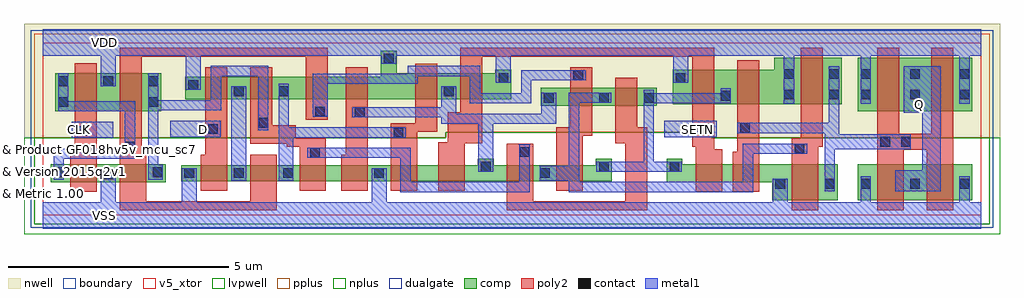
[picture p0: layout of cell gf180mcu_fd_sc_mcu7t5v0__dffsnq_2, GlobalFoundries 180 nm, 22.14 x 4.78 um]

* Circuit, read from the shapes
.subckt gf180mcu_fd_sc_mcu7t5v0__dffsnq_2 CLK D Q SETN VDD VSS
XM1 VSS CLK n1 VSUBS nfet_05v0 w=0.405u l=0.6u
XM2 n2 n1 VSS VSUBS nfet_05v0 w=0.405u l=0.6u
XM3 n3 D VSS VSUBS nfet_05v0 w=0.36u l=0.6u
XM4 n4 n1 n3 VSUBS nfet_05v0 w=0.36u l=0.6u
XM5 n5 n2 n4 VSUBS nfet_05v0 w=0.36u l=0.6u
XM6 VSS n6 n5 VSUBS nfet_05v0 w=0.36u l=0.6u
XM7 n7 n4 VSS VSUBS nfet_05v0 w=0.36u l=0.6u
XM8 n6 SETN n7 VSUBS nfet_05v0 w=0.36u l=0.6u
XM9 n8 n2 n6 VSUBS nfet_05v0 w=0.36u l=0.6u
XM10 n9 n1 n8 VSUBS nfet_05v0 w=0.36u l=0.6u
XM11 n10 SETN n9 VSUBS nfet_05v0 w=0.405u l=0.6u
XM12 VSS n11 n10 VSUBS nfet_05v0 w=0.405u l=0.6u
XM13 n11 n8 VSS VSUBS nfet_05v0 w=0.815u l=0.6u
XM14 Q n11 VSS VSUBS nfet_05v0 w=0.815u l=0.6u m=2
XM15 VDD CLK n1 n12 pfet_05v0 w=0.865u l=0.5u
XM16 n2 n1 VDD n12 pfet_05v0 w=0.865u l=0.5u
XM17 n3 D VDD n12 pfet_05v0 w=0.505u l=0.5u
XM18 n4 n2 n3 n12 pfet_05v0 w=0.505u l=0.5u
XM19 n13 n1 n4 n12 pfet_05v0 w=0.505u l=0.5u
XM20 VDD n6 n13 n12 pfet_05v0 w=0.505u l=0.5u
XM21 n6 n4 VDD n12 pfet_05v0 w=0.585u l=0.5u
XM22 VDD SETN n6 n12 pfet_05v0 w=0.585u l=0.5u
XM23 n8 n1 n6 n12 pfet_05v0 w=0.415u l=0.5u
XM24 n9 n2 n8 n12 pfet_05v0 w=0.415u l=0.5u
XM25 n9 SETN VDD n12 pfet_05v0 w=0.78u l=0.5u
XM26 VDD n11 n9 n12 pfet_05v0 w=0.78u l=0.5u
XM27 n11 n8 VDD n12 pfet_05v0 w=1.055u l=0.5u
XM28 Q n11 VDD n12 pfet_05v0 w=1.215u l=0.5u m=2
.ends

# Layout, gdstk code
import gdstk
lib = gdstk.Library(unit=1e-6, precision=1e-09)
def R(c, l, rs):  # rectangles x0, y0, x1, y1
    for r in rs: c.add(gdstk.rectangle(r[:2], r[2:], *l))
def A(c, l, x, y, w, h, nx, ny, dx, dy):  # array of equal rectangles
    R(c, l, [(x+i*dx, y+j*dy, x+i*dx+w, y+j*dy+h) for i in range(nx) for j in range(ny)])
def P(c, l, *ps):  # polygons
    for p in ps: c.add(gdstk.Polygon(p, *l))
boundary = (0, 0)
nwell = (21, 0)
comp = (22, 0)
poly2 = (30, 0)
pplus = (31, 0)
nplus = (32, 0)
contact = (33, 0)
metal1 = (34, 0)
dualgate = (55, 0)
v5_xtor = (112, 1)
lvpwell = (204, 0)

gf180mcu_fd_sc_mcu7t5v0_ = lib.new_cell('gf180mcu_fd_sc_mcu7t5v0__dffsnq_2')
R(gf180mcu_fd_sc_mcu7t5v0_, boundary, [(0,0,21.28,3.92)])
P(gf180mcu_fd_sc_mcu7t5v0_, nwell, [(-0.43,1.76),(-0.43,4.35),(21.71,4.35),(21.71,1.76),(15.165,1.76),(15.165,1.885),(9.135,1.885),(9.135,1.76)])
R(gf180mcu_fd_sc_mcu7t5v0_, comp, [(18.485,0.345,21.085,1.16), (0.18,0.755,2.78,1.16), (0.28,2.36,2.68,3.225), (18.485,2.36,21.085,3.575), (11.295,2.485,13.925,2.9)])
P(gf180mcu_fd_sc_mcu7t5v0_, comp, [(3.23,2.635),(3.23,3.14),(7.665,3.14),(7.665,3.74),(8.025,3.74),(8.025,3.22),(10.265,3.22),(10.265,3.3),(10.625,3.3),(10.625,2.635)],
  [(3.14,0.78),(3.14,1.14),(9.865,1.14),(9.865,1.285),(10.225,1.285),(10.225,1.14),(12.545,1.14),(12.545,1.285),(12.905,1.285),(12.905,0.78)],
  [(16.545,0.345),(16.545,0.755),(14.145,0.755),(14.145,1.285),(14.505,1.285),(14.505,1.16),(18.025,1.16),(18.025,0.345)],
  [(14.285,2.52),(14.285,3.3),(16.585,3.3),(16.585,3.575),(18.125,3.575),(18.125,2.52)])
P(gf180mcu_fd_sc_mcu7t5v0_, poly2, [(0.62,0.535),(0.62,1.38),(0.72,1.38),(0.72,3.45),(1.22,3.45),(1.22,0.535)],
  [(3.58,0.56),(3.58,1.38),(3.68,1.38),(3.68,3.36),(4.18,3.36),(4.18,0.56)],
  [(5.82,0.56),(5.82,1.555),(5.535,1.555),(5.535,1.62),(4.7,1.62),(4.7,3.36),(5.2,3.36),(5.2,2.05),(5.735,2.05),(5.735,1.755),(6.42,1.755),(6.42,0.56)],
  [(1.74,0.12),(1.74,3.8),(6.465,3.8),(6.465,2.175),(5.965,2.175),(5.965,3.6),(2.24,3.6),(2.24,1.38),(2.34,1.38),(2.34,0.32),(4.7,0.32),(4.7,1.38),(5.3,1.38),(5.3,0.12)],
  [(6.765,0.56),(6.765,1.38),(6.865,1.38),(6.865,3.36),(7.365,3.36),(7.365,0.56)],
  [(7.885,0.56),(7.885,2.095),(8.445,2.095),(8.445,3.44),(8.945,3.44),(8.945,1.895),(8.485,1.895),(8.485,0.56)],
  [(11.645,0.56),(11.645,2.005),(11.965,2.005),(11.965,3.36),(12.465,3.36),(12.465,1.805),(12.245,1.805),(12.245,0.56)],
  [(10.525,0.12),(10.525,1.62),(11.125,1.62),(11.125,0.32),(13.205,0.32),(13.205,1.635),(12.985,1.635),(12.985,3.12),(13.485,3.12),(13.485,2.005),(13.705,2.005),(13.705,0.12)],
  [(14.805,0.535),(14.805,1.555),(14.725,1.555),(14.725,3.6),(9.965,3.6),(9.965,1.635),(9.565,1.635),(9.565,0.56),(8.965,0.56),(8.965,1.655),(9.185,1.655),(9.185,2.335),(9.465,2.335),(9.465,3.8),(15.225,3.8),(15.225,1.505),(15.405,1.505),(15.405,0.535)],
  [(15.645,0.535),(15.645,1.44),(15.745,1.44),(15.745,3.52),(16.245,3.52),(16.245,0.535)],
  [(16.985,0.12),(16.985,1.755),(17.185,1.755),(17.185,3.8),(17.685,3.8),(17.685,1.555),(17.585,1.555),(17.585,0.12)],
  [(18.925,0.12),(18.925,3.8),(19.425,3.8),(19.425,1.85),(20.145,1.85),(20.145,3.8),(20.645,3.8),(20.645,0.12),(20.045,0.12),(20.045,1.49),(19.525,1.49),(19.525,0.12)])
P(gf180mcu_fd_sc_mcu7t5v0_, pplus, [(-0.2,1.76),(-0.2,4.12),(21.48,4.12),(21.48,1.76),(15.165,1.76),(15.165,1.885),(9.135,1.885),(9.135,1.76)])
P(gf180mcu_fd_sc_mcu7t5v0_, nplus, [(-0.2,-0.2),(-0.2,1.76),(9.135,1.76),(9.135,1.885),(15.165,1.885),(15.165,1.76),(21.48,1.76),(21.48,-0.2)])
A(gf180mcu_fd_sc_mcu7t5v0_, contact, 18.555, 0.61, 0.22, 0.22, 3, 2, 1.12, 2.02)
A(gf180mcu_fd_sc_mcu7t5v0_, contact, 3.21, 0.85, 0.22, 0.22, 3, 1, 1.12, 0)
A(gf180mcu_fd_sc_mcu7t5v0_, contact, 0.35, 2.935, 0.22, 0.22, 3, 1, 1.02, 0)
A(gf180mcu_fd_sc_mcu7t5v0_, contact, 18.555, 3.1, 0.22, 0.22, 3, 1, 1.12, 0)
R(gf180mcu_fd_sc_mcu7t5v0_, contact, [(16.615,0.61,16.835,0.83), (17.735,0.61,17.955,0.83), (1.37,0.825,1.59,1.045), (7.515,0.85,7.735,1.07), (11.275,0.85,11.495,1.07), (0.25,0.87,0.47,1.09), (2.49,0.87,2.71,1.09), (9.935,0.995,10.155,1.215), (12.615,0.995,12.835,1.215), (14.215,0.995,14.435,1.215), (6.06,1.31,6.28,1.53), (10.815,1.33,11.035,1.55), (17.055,1.405,17.275,1.625), (1.865,1.455,2.085,1.675), (18.995,1.56,19.215,1.78), (19.465,1.56,19.685,1.78), (7.955,1.77,8.175,1.99), (0.79,1.805,1.01,2.025), (3.75,1.85,3.97,2.07), (14.795,1.85,15.015,2.07), (15.815,1.87,16.035,2.09), (4.89,1.99,5.11,2.21), (7.075,2.23,7.295,2.45), (6.175,2.245,6.395,2.465), (0.35,2.465,0.57,2.685), (2.39,2.465,2.61,2.685), (11.365,2.555,11.585,2.775), (12.615,2.555,12.835,2.775), (13.635,2.555,13.855,2.775), (15.375,2.605,15.595,2.825), (16.815,2.63,17.035,2.85), (17.835,2.63,18.055,2.85), (4.33,2.705,4.55,2.925), (5.35,2.705,5.57,2.925), (9.095,2.705,9.315,2.925), (3.3,2.85,3.52,3.07), (10.335,3.01,10.555,3.23), (14.355,3.01,14.575,3.23), (12.035,3.07,12.255,3.29), (16.815,3.1,17.035,3.32), (17.835,3.1,18.055,3.32), (7.735,3.45,7.955,3.67)])
R(gf180mcu_fd_sc_mcu7t5v0_, metal1, [(4.27,0.79,4.61,2.93), (0.65,1.765,1.59,2.13), (2.89,1.77,4.03,2.15), (14.09,1.77,15.285,2.15)])
P(gf180mcu_fd_sc_mcu7t5v0_, metal1, [(0.245,0.81),(0.245,1.51),(1.86,1.51),(1.86,2.36),(0.345,2.36),(0.345,3.225),(0.575,3.225),(0.575,2.595),(2.09,2.595),(2.09,1.28),(0.475,1.28),(0.475,0.81)],
  [(2.385,0.81),(2.385,3.225),(2.615,3.225),(2.615,2.615),(3.81,2.615),(3.81,3.39),(5.115,3.39),(5.115,1.93),(4.885,1.93),(4.885,3.16),(4.04,3.16),(4.04,2.38),(2.62,2.38),(2.62,1.15),(2.715,1.15),(2.715,0.81)],
  [(5.345,0.79),(5.345,2.985),(5.575,2.985),(5.575,1.995),(8.235,1.995),(8.235,1.765),(5.675,1.765),(5.675,0.79)],
  [(8.11,0.53),(8.11,1.305),(6,1.305),(6,1.535),(8.34,1.535),(8.34,0.76),(10.81,0.76),(10.81,1.615),(11.04,1.615),(11.04,0.53)],
  [(9.875,0.99),(9.875,2.08),(9.035,2.08),(9.035,2.225),(7.015,2.225),(7.015,2.455),(9.035,2.455),(9.035,2.93),(9.375,2.93),(9.375,2.31),(11.305,2.31),(11.305,2.78),(11.645,2.78),(11.645,2.08),(10.215,2.08),(10.215,0.99)],
  [(6.115,2.24),(6.115,3.215),(8.27,3.215),(8.27,3.39),(9.915,3.39),(9.915,2.775),(10.845,2.775),(10.845,3.295),(12.315,3.295),(12.315,3.065),(11.075,3.065),(11.075,2.54),(9.685,2.54),(9.685,3.16),(8.5,3.16),(8.5,2.985),(6.455,2.985),(6.455,2.24)],
  [(12.555,0.99),(12.555,1.22),(13.63,1.22),(13.63,2.845),(13.86,2.845),(13.86,2.775),(15.37,2.775),(15.37,2.885),(15.6,2.885),(15.6,2.54),(13.86,2.54),(13.86,1.22),(14.495,1.22),(14.495,0.99)],
  [(11.93,0.53),(11.93,0.79),(11.27,0.79),(11.27,1.13),(11.93,1.13),(11.93,2.78),(12.895,2.78),(12.895,2.55),(12.16,2.55),(12.16,0.76),(15.88,0.76),(15.88,1.63),(17.335,1.63),(17.335,1.395),(16.11,1.395),(16.11,0.53)],
  [(17.73,0.55),(17.73,1.86),(15.755,1.86),(15.755,2.105),(17.83,2.105),(17.83,3.38),(18.06,3.38),(18.06,1.84),(19.69,1.84),(19.69,1.5),(17.96,1.5),(17.96,0.55)],
  [(19.33,0.55),(19.33,1.02),(19.95,1.02),(19.95,2.33),(19.53,2.33),(19.53,3.38),(20.37,3.38),(20.37,0.55)],
  [(0,-0.3),(0,0.3),(1.31,0.3),(1.31,1.05),(1.65,1.05),(1.65,0.3),(3.15,0.3),(3.15,1.075),(3.49,1.075),(3.49,0.3),(7.455,0.3),(7.455,1.075),(7.795,1.075),(7.795,0.3),(16.555,0.3),(16.555,0.835),(16.895,0.835),(16.895,0.3),(18.55,0.3),(18.55,0.89),(18.78,0.89),(18.78,0.3),(20.79,0.3),(20.79,0.89),(21.02,0.89),(21.02,0.3),(21.28,0.3),(21.28,-0.3)],
  [(16.81,2.53),(16.81,3.62),(14.635,3.62),(14.635,3.005),(14.295,3.005),(14.295,3.62),(10.615,3.62),(10.615,3.005),(10.275,3.005),(10.275,3.62),(8.015,3.62),(8.015,3.445),(7.675,3.445),(7.675,3.62),(3.58,3.62),(3.58,2.845),(3.24,2.845),(3.24,3.62),(1.65,3.62),(1.65,2.93),(1.31,2.93),(1.31,3.62),(0,3.62),(0,4.22),(21.28,4.22),(21.28,3.62),(21.02,3.62),(21.02,2.53),(20.79,2.53),(20.79,3.62),(18.78,3.62),(18.78,2.53),(18.55,2.53),(18.55,3.62),(17.04,3.62),(17.04,2.53)])
R(gf180mcu_fd_sc_mcu7t5v0_, dualgate, [(-0.28,-0.28,21.56,4.2)])
R(gf180mcu_fd_sc_mcu7t5v0_, v5_xtor, [(0,0,21.28,3.92)])
P(gf180mcu_fd_sc_mcu7t5v0_, lvpwell, [(-0.43,-0.43),(-0.43,1.76),(9.135,1.76),(9.135,1.885),(15.165,1.885),(15.165,1.76),(21.71,1.76),(21.71,-0.43)])
gf180mcu_fd_sc_mcu7t5v0_.add(gdstk.Label('D', (3.64,1.96), layer=34, texttype=10))
gf180mcu_fd_sc_mcu7t5v0_.add(gdstk.Label('Q', (19.88,2.52), layer=34, texttype=10))
gf180mcu_fd_sc_mcu7t5v0_.add(gdstk.Label('SETN', (14.84,1.96), layer=34, texttype=10))
gf180mcu_fd_sc_mcu7t5v0_.add(gdstk.Label('VSS', (1.4,0), layer=34, texttype=10))
gf180mcu_fd_sc_mcu7t5v0_.add(gdstk.Label('CLK', (0.84,1.96), layer=34, texttype=10))
gf180mcu_fd_sc_mcu7t5v0_.add(gdstk.Label('VDD', (1.4,3.92), layer=34, texttype=10))
gf180mcu_fd_sc_mcu7t5v0_.add(gdstk.Label('& Vendor GLOBALFOUNDRIES', (0,2), layer=63, texttype=63))
gf180mcu_fd_sc_mcu7t5v0_.add(gdstk.Label('& Product GF018hv5v_mcu_sc7', (0,1.5), layer=63, texttype=63))
gf180mcu_fd_sc_mcu7t5v0_.add(gdstk.Label('& Version 2015q2v1', (0,1), layer=63, texttype=63))
gf180mcu_fd_sc_mcu7t5v0_.add(gdstk.Label('& Metric 1.00', (0,0.5), layer=63, texttype=63))

lib.write_gds('gf180mcu_fd_sc_mcu7t5v0__dffsnq_2.gds')
